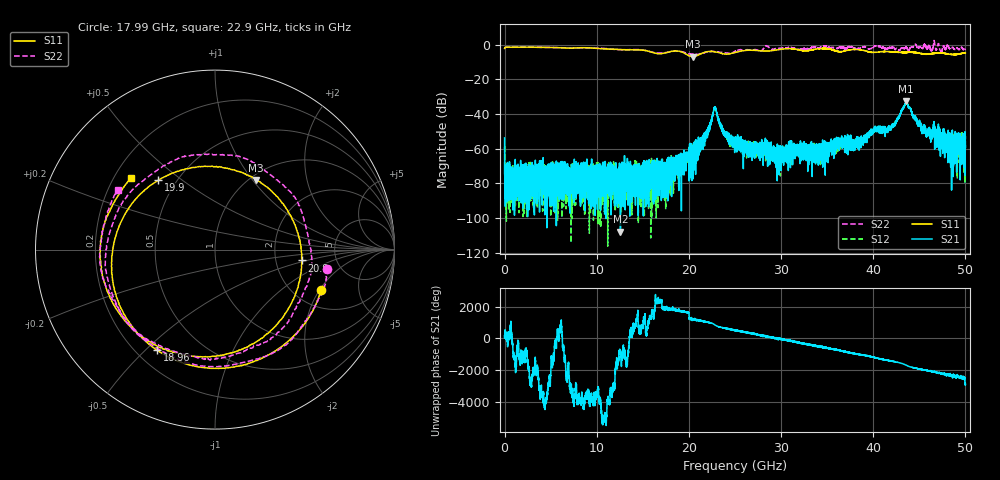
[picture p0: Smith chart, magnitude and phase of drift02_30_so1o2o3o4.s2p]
!Created with skrf (http://scikit-rf.org).
# Hz S RI R 50.0
!freq ReS11 ImS11 ReS21 ImS21 ReS12 ImS12 ReS22 ImS22
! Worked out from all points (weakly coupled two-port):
!   10001 points, 300 kHz to 50 GHz, reference 50 ohm
!   highest |S21| = -32.53 dB at 43.58 GHz (marker M1); lowest = -107.9 dB at 12.57 GHz (marker M2)
!   lowest |S11| = -6.9 dB at 20.4 GHz (marker M3), VSWR 2.64, Z = 53.3 + j52 ohm
!   |S11| at or under -10 dB: nowhere
!   |S22| runs from -5.7 to 2.5 dB; largest |S21 - S12| = 0.0033
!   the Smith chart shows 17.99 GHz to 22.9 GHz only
!   S11 on the Smith chart (normalised r, x): 17.99 GHz: 2.75, -2.07; 18.96 GHz: 0.28, -0.54; 19.9 GHz: 0.40, +0.41; 20.9 GHz: 2.83, -0.45; 22.9 GHz: 0.27, +0.34
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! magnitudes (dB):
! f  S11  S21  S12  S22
! 300 kHz  -2.1  -53.8  -58.6  -2.1
! 265.3 MHz  -1.4  -83.2  -78.1  -1.4
! 8.335 GHz  -1.7  -71.4  -80.3  -1.9
! 12.57 GHz  -2.8  -107.9  -77.0  -2.9
! 16.67 GHz  -5.2  -73.7  -80.2  -4.7
! 17.99 GHz  -4.0  -70.4  -72.3  -4.0
! 18.96 GHz  -3.8  -68.4  -66.0  -3.9
! 19.9 GHz  -6.0  -65.1  -64.0  -5.2
! 20.4 GHz  -6.9  -59.0  -63.7  -5.4
! 20.9 GHz  -6.2  -60.9  -65.4  -5.6
! 22.9 GHz  -4.2  -36.6  -36.9  -3.9
! 23.77 GHz  -5.3  -49.8  -50.4  -4.7
! 25 GHz  -4.5  -56.0  -58.7  -3.9
! 29.7 GHz  -2.9  -59.7  -63.6  -2.1
! 33.34 GHz  -3.0  -57.7  -62.8  -1.6
! 38.29 GHz  -2.8  -55.3  -55.9  -2.2
! 40.34 GHz  -4.4  -48.6  -48.6  -0.9
! 41.67 GHz  -4.0  -48.5  -47.6  -1.8
! 43.58 GHz  -4.7  -32.5  -33.6  -1.5
! 45.71 GHz  -5.3  -51.3  -51.6  -0.9
! 48.95 GHz  -5.6  -58.7  -60.4  -2.6
! 50 GHz  -4.7  -59.1  -52.6  -2.7
